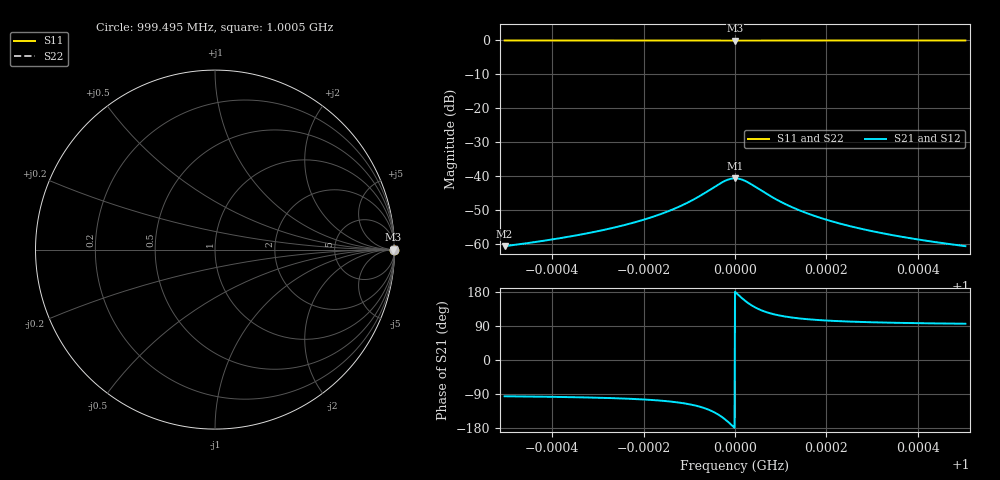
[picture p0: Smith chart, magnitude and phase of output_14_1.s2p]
! File generated for n1 = 14, n2 = 1
! b1 = 0.004642
! b2 = 0.004642
! Q0 = 10000.000000
! f0 = 1000000000.000000
! n = 1001
! rel_span = 10.000000
# Hz S RI R 50
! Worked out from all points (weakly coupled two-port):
!   1001 points, 999.495 MHz to 1.0005 GHz, reference 50 ohm
!   highest |S21| = -40.73 dB at 1 GHz (marker M1); lowest = -60.8 dB at 999.495 MHz (marker M2)
!   lowest |S11| = -0.1 dB at 1 GHz (marker M3), VSWR 216.44, Z = 1.08e+04 + j0 ohm
!   |S11| at or under -10 dB: nowhere
!   |S22| runs from -0.1 to 0.0 dB; largest |S21 - S12| = 0
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9.994954e8  0.9999 -0.00091  -9.1e-05 -0.00091  -9.1e-05 -0.00091  0.9999 -0.00091
9.995822e8  0.9999 -0.00109  -0.000132 -0.00109  -0.000132 -0.00109  0.9999 -0.00109
9.996639e8  0.9998 -0.00135  -0.000203 -0.00135  -0.000203 -0.00135  0.9998 -0.00135
9.997568e8  0.9996 -0.00183  -0.000379 -0.00183  -0.000379 -0.00183  0.9996 -0.00183
9.997961e8  0.9995 -0.00215  -0.000531 -0.00215  -0.000531 -0.00215  0.9995 -0.00215
9.998325e8  0.9992 -0.00254  -0.000765 -0.00254  -0.000765 -0.00254  0.9992 -0.00254
9.998678e8  0.9988 -0.00306  -0.00117 -0.00306  -0.00117 -0.00306  0.9988 -0.00306
9.998991e8  0.9982 -0.00368  -0.00184 -0.00368  -0.00184 -0.00368  0.9982 -0.00368
9.999233e8  0.9972 -0.00422  -0.00278 -0.00422  -0.00278 -0.00422  0.9972 -0.00422
9.999768e8  0.9924 -0.00349  -0.00759 -0.00349  -0.00759 -0.00349  0.9924 -0.00349
9.999889e8  0.9912 -0.00193  -0.00877 -0.00193  -0.00877 -0.00193  0.9912 -0.00193
1e9  0.9908 0  -0.0092 0  -0.0092 0  0.9908 0
1.000011e9  0.9912 0.00193  -0.00877 0.00193  -0.00877 0.00193  0.9912 0.00193
1.000023e9  0.9924 0.00349  -0.00759 0.00349  -0.00759 0.00349  0.9924 0.00349
1.000077e9  0.9972 0.00422  -0.00278 0.00422  -0.00278 0.00422  0.9972 0.00422
1.000101e9  0.9982 0.00368  -0.00184 0.00368  -0.00184 0.00368  0.9982 0.00368
1.000133e9  0.9988 0.00305  -0.00115 0.00305  -0.00115 0.00305  0.9988 0.00305
1.000169e9  0.9992 0.00253  -0.000757 0.00253  -0.000757 0.00253  0.9992 0.00253
1.000244e9  0.9996 0.00182  -0.000377 0.00182  -0.000377 0.00182  0.9996 0.00182
1.000337e9  0.9998 0.00135  -0.000202 0.00135  -0.000202 0.00135  0.9998 0.00135
1.000419e9  0.9999 0.00109  -0.000132 0.00109  -0.000132 0.00109  0.9999 0.00109
1.000505e9  0.9999 0.000911  -9.11e-05 0.000911  -9.11e-05 0.000911  0.9999 0.000911
